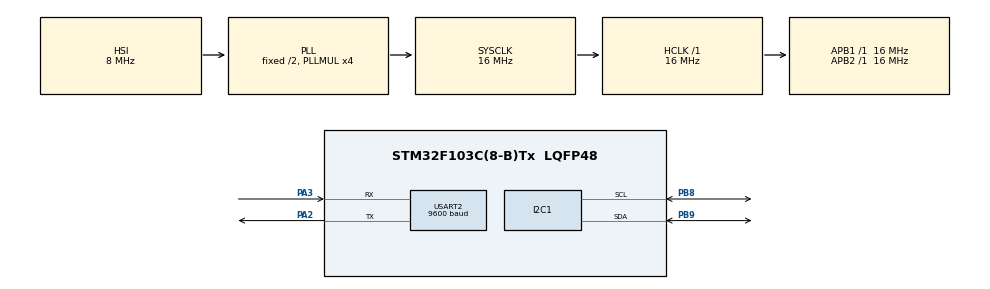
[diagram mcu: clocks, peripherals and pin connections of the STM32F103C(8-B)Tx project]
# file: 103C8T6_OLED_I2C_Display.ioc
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Mcu.Family=STM32F1
Mcu.Name=STM32F103C(8-B)Tx
Mcu.Package=LQFP48
NVIC.PriorityGroup=NVIC_PRIORITYGROUP_4
PA13.Mode=Serial_Wire
PA13.Signal=SYS_JTMS-SWDIO
PA14.Mode=Serial_Wire
PA14.Signal=SYS_JTCK-SWCLK
PA2.Mode=Asynchronous
PA2.Signal=USART2_TX
PA3.Mode=Asynchronous
PA3.Signal=USART2_RX
PB8.Mode=I2C
PB8.Signal=I2C1_SCL
PB9.Mode=I2C
PB9.Signal=I2C1_SDA
PC14-OSC32_IN.Mode=LSE-External-Oscillator
PC14-OSC32_IN.Signal=RCC_OSC32_IN
PC15-OSC32_OUT.Mode=LSE-External-Oscillator
PC15-OSC32_OUT.Signal=RCC_OSC32_OUT
PD0-OSC_IN.Mode=HSE-External-Oscillator
PD0-OSC_IN.Signal=RCC_OSC_IN
PD1-OSC_OUT.Mode=HSE-External-Oscillator
PD1-OSC_OUT.Signal=RCC_OSC_OUT
ProjectManager.HeapSize=0x200
ProjectManager.StackSize=0x400
ProjectManager.TargetToolchain=STM32CubeIDE
RCC.AHBFreq_Value=16000000
RCC.APB1Freq_Value=16000000
RCC.APB1TimFreq_Value=16000000
RCC.APB2Freq_Value=16000000
RCC.APB2TimFreq_Value=16000000
RCC.HCLKFreq_Value=16000000
RCC.PLLMUL=RCC_PLL_MUL4
RCC.SYSCLKFreq_VALUE=16000000
RCC.SYSCLKSource=RCC_SYSCLKSOURCE_PLLCLK
RCC.USBFreq_Value=16000000
USART2.BaudRate=9600
USART2.VirtualMode=VM_ASYNC
board=custom

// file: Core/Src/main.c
/* USER CODE BEGIN Header */
/**
 ******************************************************************************
 * @file           : main.c
 * @brief          : Main program body
 ******************************************************************************
 * @attention
 *
 * Copyright (c) 2025 STMicroelectronics.
 * All rights reserved.
 *
 * This software is licensed under terms that can be found in the LICENSE file
 * in the root directory of this software component.
 * If no LICENSE file comes with this software, it is provided AS-IS.
 *
 ******************************************************************************
 */
/* USER CODE END Header */
#include "main.h"

/* USER CODE BEGIN Includes */
#include "ssd1306.h"
#include <stdio.h>
#include <string.h>
/* USER CODE END Includes */

I2C_HandleTypeDef hi2c1;

UART_HandleTypeDef huart2;

/* USER CODE BEGIN PV */
uint8_t cursor = 1;
uint8_t menu = 0;   // 0 = main menu, 1 = test equipment
/* USER CODE END PV */

void SystemClock_Config(void);
static void MX_GPIO_Init(void);
static void MX_I2C1_Init(void);
static void MX_USART2_UART_Init(void);
/* USER CODE BEGIN PFP */
void ShowMainMenu(uint8_t sel);
void ShowTestEquipmentMenu(uint8_t sel);
void Box(uint8_t x, uint8_t y, uint8_t w, uint8_t h);
/* USER CODE END PFP */

/* USER CODE BEGIN 0 */

void Box(uint8_t x, uint8_t y, uint8_t w, uint8_t h) {
	SSD1306_DrawRect(x, y, w, h);
}

/* MAIN MENU */
void ShowMainMenu(uint8_t sel) {
	SSD1306_Clear();

	SSD1306_WriteStringXY(0, 10,
			(sel == 1) ? "> 1) Test Equipment" : "  1) Test Equipment");

	SSD1306_WriteStringXY(0, 25,
			(sel == 2) ? "> 2) NRF Control" : "  2) NRF Control");

	SSD1306_WriteStringXY(0, 40,
			(sel == 3) ? "> 3) Autonomus Ctrl" : "  3) Autonomus Ctrl");

	SSD1306_Update();
}

/* TEST EQUIPMENT SUB-MENU */
void ShowTestEquipmentMenu(uint8_t sel) {
	SSD1306_Clear();

	SSD1306_WriteStringXY(0, 5,
			(sel == 1) ? "> 1) Test Joystick" : "  1) Test Joystick");

	SSD1306_WriteStringXY(0, 20,
			(sel == 2) ? "> 2) ESP32 Serial" : "  2) ESP32 Serial");

	SSD1306_WriteStringXY(0, 35,
			(sel == 3) ? "> 3) NRF Module" : "  3) NRF Module");

	SSD1306_WriteStringXY(0, 55,
			(sel == 4) ? "> 4) Potentiometer" : "  4) Potentiometer");

	SSD1306_Update();
}

/* USER CODE END 0 */

int main(void)
{

  /* MCU Configuration--------------------------------------------------------*/

  /* Reset of all peripherals, Initializes the Flash interface and the Systick. */
  HAL_Init();

  /* Configure the system clock */
  SystemClock_Config();

  /* Initialize all configured peripherals */
  MX_GPIO_Init();
  MX_I2C1_Init();
  MX_USART2_UART_Init();
  /* USER CODE BEGIN 2 */

	SSD1306_Init();

	// -------- FIRST SCREEN --------
	SSD1306_Clear();
	SSD1306_WriteStringXY(0, 0, "Hello");
	SSD1306_WriteStringXY(0, 15, "Dasari!");
	SSD1306_Update();
	HAL_Delay(3000);

	// -------- PASSCODE SCREEN --------
	SSD1306_Clear();
	SSD1306_WriteStringXY(0, 0, "Enter PassCode:");
	Box(0, 20, 120, 20);
	SSD1306_Update();

	char pass[10] = { 0 };
	uint8_t idx = 0;
	uint8_t ch;

  /* USER CODE END 2 */

  /* Infinite loop */
	while (1) {

    /* USER CODE BEGIN 3 */

		HAL_UART_Receive(&huart2, &ch, 1, HAL_MAX_DELAY);

		if (ch == '\r')   // ENTER to verify
				{
			if (strcmp(pass, "9985") == 0)
				break;   // correct → unlock
			else {
				// --- SHOW WRONG MESSAGE ---
				SSD1306_Clear();                    // clear FIRST
				SSD1306_WriteStringXY(0, 0, "Enter PassCode:");
				Box(0, 20, 120, 20);
				SSD1306_WriteStringXY(0, 45, "Wrong! Try Again");
				SSD1306_Update();
				HAL_Delay(800);

				// reset
				memset(pass, 0, sizeof(pass));
				idx = 0;

				// --- SHOW CLEAN EMPTY PASSCODE SCREEN ---
				SSD1306_Clear();
				SSD1306_WriteStringXY(0, 0, "Enter PassCode:");
				Box(0, 20, 120, 20);
				SSD1306_Update();

			}
		} else if (idx < 4)   // store pass digits
				{
			pass[idx++] = ch;
			pass[idx] = '\0';

			SSD1306_Clear();
			SSD1306_WriteStringXY(0, 0, "Enter PassCode:");
			Box(0, 20, 120, 20);
			SSD1306_WriteStringXY(5, 25, pass);
			SSD1306_Update();
		}
	}

	// -------- OPEN MAIN MENU --------
	menu = 0;
	cursor = 1;
	ShowMainMenu(cursor);

	/* USER CODE END 2 */

	/* USER CODE BEGIN WHILE */
	while (1) {
		HAL_UART_Receive(&huart2, &ch, 1, HAL_MAX_DELAY);

		// ---- ARROW KEYS (TeraTerm ESC sequences) ----
		if (ch == 0x1B) {
			uint8_t b1, b2;
			HAL_UART_Receive(&huart2, &b1, 1, HAL_MAX_DELAY);
			HAL_UART_Receive(&huart2, &b2, 1, HAL_MAX_DELAY);

			if (b1 == '[') {
				if (b2 == 'A')
					cursor--;   // UP
				if (b2 == 'B')
					cursor++;   // DOWN
			}
		}

		// ---- LIMITS ----
		if (menu == 0) {
			if (cursor < 1)
				cursor = 3;
			if (cursor > 3)
				cursor = 1;
		} else if (menu == 1) {
			if (cursor < 1)
				cursor = 4;
			if (cursor > 4)
				cursor = 1;
		}

		// ---- DISPLAY MENUS ----
		if (menu == 0)
			ShowMainMenu(cursor);
		if (menu == 1)
			ShowTestEquipmentMenu(cursor);

		// ---- ENTER KEY ----
		if (ch == '\r') {
			if (menu == 0) {
				if (cursor == 1) {
					menu = 1;
					cursor = 1;
					ShowTestEquipmentMenu(cursor);
				}
				if (cursor == 2) { /* open NRF control */
				}
				if (cursor == 3) { /* open autonomous ctrl */
				}
			} else if (menu == 1) {
				if (cursor == 1) { /* joystick test */
				}
				if (cursor == 2) { /* ESP32 serial test */
				}
				if (cursor == 3) { /* NRF module test */
				}
				if (cursor == 4) { /* potentiometer test */
				}
			}
		}

	}
  /* USER CODE END 3 */
}

void SystemClock_Config(void)
{
  RCC_OscInitTypeDef RCC_OscInitStruct = {0};
  RCC_ClkInitTypeDef RCC_ClkInitStruct = {0};

  /** Initializes the RCC Oscillators according to the specified parameters
  * in the RCC_OscInitTypeDef structure.
  */
  RCC_OscInitStruct.OscillatorType = RCC_OSCILLATORTYPE_HSI;
  RCC_OscInitStruct.HSIState = RCC_HSI_ON;
  RCC_OscInitStruct.HSICalibrationValue = RCC_HSICALIBRATION_DEFAULT;
  RCC_OscInitStruct.PLL.PLLState = RCC_PLL_ON;
  RCC_OscInitStruct.PLL.PLLSource = RCC_PLLSOURCE_HSI_DIV2;
  RCC_OscInitStruct.PLL.PLLMUL = RCC_PLL_MUL4;
  if (HAL_RCC_OscConfig(&RCC_OscInitStruct) != HAL_OK)
  {
    Error_Handler();
  }

  /** Initializes the CPU, AHB and APB buses clocks
  */
  RCC_ClkInitStruct.ClockType = RCC_CLOCKTYPE_HCLK|RCC_CLOCKTYPE_SYSCLK
                              |RCC_CLOCKTYPE_PCLK1|RCC_CLOCKTYPE_PCLK2;
  RCC_ClkInitStruct.SYSCLKSource = RCC_SYSCLKSOURCE_PLLCLK;
  RCC_ClkInitStruct.AHBCLKDivider = RCC_SYSCLK_DIV1;
  RCC_ClkInitStruct.APB1CLKDivider = RCC_HCLK_DIV1;
  RCC_ClkInitStruct.APB2CLKDivider = RCC_HCLK_DIV1;

  if (HAL_RCC_ClockConfig(&RCC_ClkInitStruct, FLASH_LATENCY_0) != HAL_OK)
  {
    Error_Handler();
  }
}

static void MX_I2C1_Init(void)
{

  hi2c1.Instance = I2C1;
  hi2c1.Init.ClockSpeed = 100000;
  hi2c1.Init.DutyCycle = I2C_DUTYCYCLE_2;
  hi2c1.Init.OwnAddress1 = 0;
  hi2c1.Init.AddressingMode = I2C_ADDRESSINGMODE_7BIT;
  hi2c1.Init.DualAddressMode = I2C_DUALADDRESS_DISABLE;
  hi2c1.Init.OwnAddress2 = 0;
  hi2c1.Init.GeneralCallMode = I2C_GENERALCALL_DISABLE;
  hi2c1.Init.NoStretchMode = I2C_NOSTRETCH_DISABLE;
  if (HAL_I2C_Init(&hi2c1) != HAL_OK)
  {
    Error_Handler();
  }

}

static void MX_USART2_UART_Init(void)
{

  huart2.Instance = USART2;
  huart2.Init.BaudRate = 9600;
  huart2.Init.WordLength = UART_WORDLENGTH_8B;
  huart2.Init.StopBits = UART_STOPBITS_1;
  huart2.Init.Parity = UART_PARITY_NONE;
  huart2.Init.Mode = UART_MODE_TX_RX;
  huart2.Init.HwFlowCtl = UART_HWCONTROL_NONE;
  huart2.Init.OverSampling = UART_OVERSAMPLING_16;
  if (HAL_UART_Init(&huart2) != HAL_OK)
  {
    Error_Handler();
  }

}

static void MX_GPIO_Init(void)
{

  /* GPIO Ports Clock Enable */
  __HAL_RCC_GPIOC_CLK_ENABLE();
  __HAL_RCC_GPIOD_CLK_ENABLE();
  __HAL_RCC_GPIOA_CLK_ENABLE();
  __HAL_RCC_GPIOB_CLK_ENABLE();

}

void Error_Handler(void)
{
	__disable_irq();
	while (1) {
	}
}
